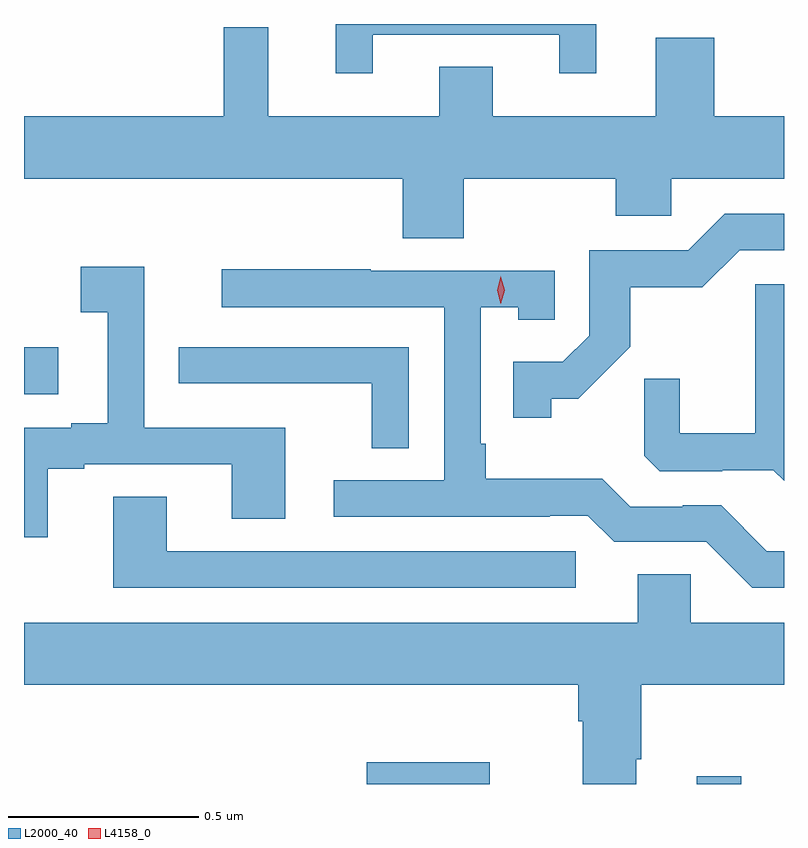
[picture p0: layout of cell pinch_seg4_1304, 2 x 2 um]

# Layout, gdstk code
import gdstk
lib = gdstk.Library(unit=1e-6, precision=1e-09)
def R(c, l, rs):  # rectangles x0, y0, x1, y1
    for r in rs: c.add(gdstk.rectangle(r[:2], r[2:], *l))
def P(c, l, *ps):  # polygons
    for p in ps: c.add(gdstk.Polygon(p, *l))
L2000_40 = (2000, 40)
L4158_0 = (4158, 0)

pinch_seg4_1304 = lib.new_cell('pinch_seg4_1304')
R(pinch_seg4_1304, L2000_40, [(372.498,777.911,372.822,777.968), (373.367,777.911,373.484,777.931), (371.596,778.937,371.686,779.061)])
P(pinch_seg4_1304, L2000_40, [(372.514,779.883),(373.004,779.883),(373.004,779.781),(373.102,779.781),(373.102,779.911),(372.417,779.911),(372.417,779.781),(372.514,779.781)],
  [(372.753,779.504),(373.153,779.504),(373.153,779.406),(373.299,779.406),(373.299,779.504),(373.596,779.504),(373.596,779.668),(373.412,779.668),(373.412,779.875),(373.259,779.875),(373.259,779.668),(372.829,779.668),(372.829,779.798),(372.689,779.798),(372.689,779.668),(372.239,779.668),(372.239,779.902),(372.121,779.902),(372.121,779.668),(371.596,779.668),(371.596,779.504),(372.593,779.504),(372.593,779.347),(372.753,779.347)],
  [(372.984,778.925),(373.054,778.925),(373.192,779.062),(373.192,779.218),(373.381,779.218),(373.479,779.316),(373.596,779.316),(373.596,779.412),(373.44,779.412),(373.344,779.316),(373.083,779.316),(373.083,779.091),(373.014,779.022),(372.883,779.022),(372.883,778.875),(372.984,778.875)],
  [(371.659,778.74),(371.755,778.74),(371.755,778.752),(372.143,778.752),(372.143,778.609),(372.283,778.609),(372.283,778.848),(371.913,778.848),(371.913,779.272),(371.745,779.272),(371.745,779.152),(371.816,779.152),(371.816,778.861),(371.72,778.861),(371.72,778.848),(371.596,778.848),(371.596,778.56),(371.659,778.56)],
  [(373.596,778.524),(373.551,778.524),(373.431,778.644),(373.33,778.644),(373.33,778.641),(373.191,778.641),(373.118,778.714),(372.811,778.714),(372.811,778.807),(372.798,778.807),(372.798,779.165),(372.897,779.165),(372.897,779.133),(372.993,779.133),(372.993,779.262),(372.509,779.262),(372.509,779.265),(372.117,779.265),(372.117,779.166),(372.702,779.166),(372.702,778.71),(372.411,778.71),(372.411,778.614),(372.98,778.614),(372.98,778.617),(373.08,778.617),(373.149,778.548),(373.392,778.548),(373.512,778.428),(373.596,778.428)],
  [(373.596,779.226),(373.52,779.226),(373.52,778.834),(373.322,778.834),(373.322,778.977),(373.228,778.977),(373.228,778.775),(373.269,778.734),(373.434,778.734),(373.434,778.737),(373.568,778.737),(373.596,778.709)],
  [(372.609,779.061),(372.003,779.061),(372.003,778.966),(372.115,778.966),(372.115,778.965),(372.511,778.965),(372.511,778.795),(372.609,778.795)],
  [(373.048,778.524),(371.971,778.524),(371.971,778.667),(371.831,778.667),(371.831,778.428),(373.048,778.428)],
  [(373.207,777.976),(373.22,777.976),(373.22,778.172),(373.596,778.172),(373.596,778.336),(373.35,778.336),(373.35,778.463),(373.211,778.463),(373.211,778.336),(371.596,778.336),(371.596,778.172),(373.055,778.172),(373.055,778.076),(373.067,778.076),(373.067,777.911),(373.207,777.911)])
P(pinch_seg4_1304, L4158_0, [(372.85,779.175),(372.841,779.211),(372.85,779.246),(372.851,779.247),(372.851,779.246),(372.861,779.211),(372.851,779.175),(372.851,779.175)])

lib.write_gds('pinch_seg4_1304.gds')
